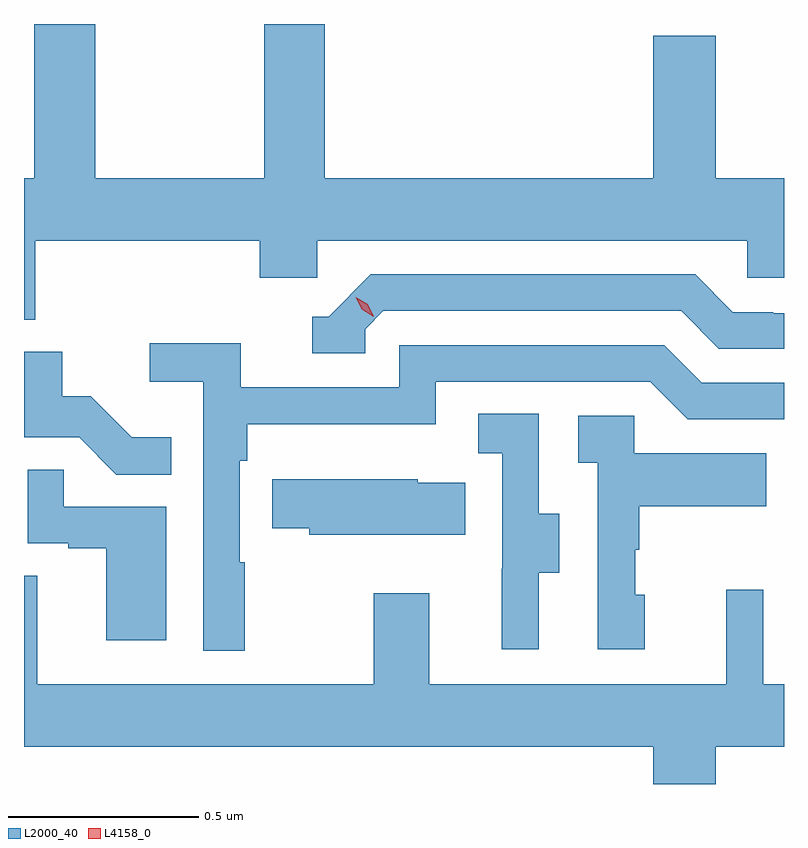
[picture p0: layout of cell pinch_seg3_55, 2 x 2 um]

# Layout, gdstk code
import gdstk
lib = gdstk.Library(unit=1e-6, precision=1e-09)
def P(c, l, *ps):  # polygons
    for p in ps: c.add(gdstk.Polygon(p, *l))
L2000_40 = (2000, 40)
L4158_0 = (4158, 0)

pinch_seg3_55 = lib.new_cell('pinch_seg3_55')
P(pinch_seg3_55, L2000_40, [(1074.47,732.884),(1075.061,732.884),(1075.061,732.786),(1075.212,732.786),(1075.212,732.884),(1076.343,732.884),(1076.343,732.786),(1076.44,732.786),(1076.44,733.048),(1076.26,733.048),(1076.26,733.423),(1076.096,733.423),(1076.096,733.048),(1075.232,733.048),(1075.232,733.454),(1075.072,733.454),(1075.072,733.048),(1074.627,733.048),(1074.627,733.454),(1074.467,733.454),(1074.467,733.048),(1074.44,733.048),(1074.44,732.676),(1074.47,732.676)],
  [(1075.338,732.651),(1075.386,732.699),(1076.169,732.699),(1076.268,732.6),(1076.44,732.6),(1076.44,732.693),(1076.412,732.693),(1076.412,732.696),(1076.305,732.696),(1076.206,732.795),(1075.353,732.795),(1075.242,732.684),(1075.199,732.684),(1075.199,732.588),(1075.338,732.588)],
  [(1075.021,732.038),(1075.008,732.038),(1075.008,732.305),(1075.028,732.305),(1075.028,732.401),(1075.524,732.401),(1075.524,732.513),(1076.088,732.513),(1076.187,732.414),(1076.44,732.414),(1076.44,732.51),(1076.224,732.51),(1076.125,732.609),(1075.428,732.609),(1075.428,732.498),(1075.01,732.498),(1075.01,732.614),(1074.771,732.614),(1074.771,732.512),(1074.912,732.512),(1074.912,731.805),(1075.021,731.805)],
  [(1074.827,732.367),(1074.723,732.367),(1074.616,732.474),(1074.54,732.474),(1074.54,732.591),(1074.44,732.591),(1074.44,732.495),(1074.441,732.495),(1074.441,732.366),(1074.585,732.366),(1074.683,732.268),(1074.827,732.268)],
  [(1075.795,732.01),(1075.849,732.01),(1075.849,732.165),(1075.794,732.165),(1075.794,732.428),(1075.635,732.428),(1075.635,732.325),(1075.698,732.325),(1075.698,732.021),(1075.697,732.021),(1075.697,731.808),(1075.795,731.808)],
  [(1076.074,731.952),(1076.049,731.952),(1076.049,732.071),(1076.059,732.071),(1076.059,732.185),(1076.393,732.185),(1076.393,732.325),(1076.046,732.325),(1076.046,732.423),(1075.899,732.423),(1075.899,732.299),(1075.95,732.299),(1075.95,731.808),(1076.074,731.808)],
  [(1074.814,732.183),(1074.545,732.183),(1074.545,732.281),(1074.45,732.281),(1074.45,732.087),(1074.557,732.087),(1074.557,732.075),(1074.656,732.075),(1074.656,731.832),(1074.814,731.832)],
  [(1075.601,732.247),(1075.476,732.247),(1075.476,732.256),(1075.093,732.256),(1075.093,732.127),(1075.191,732.127),(1075.191,732.11),(1075.601,732.11)],
  [(1076.26,731.552),(1076.44,731.552),(1076.44,731.716),(1076.385,731.716),(1076.385,731.965),(1076.288,731.965),(1076.288,731.716),(1075.507,731.716),(1075.507,731.956),(1075.36,731.956),(1075.36,731.716),(1074.475,731.716),(1074.475,732.002),(1074.44,732.002),(1074.44,731.552),(1076.096,731.552),(1076.096,731.454),(1076.26,731.454)])
P(pinch_seg3_55, L4158_0, [(1075.36,732.684),(1075.329,732.703),(1075.313,732.735),(1075.313,732.735),(1075.313,732.735),(1075.344,732.716),(1075.36,732.684),(1075.36,732.684)])

lib.write_gds('pinch_seg3_55.gds')
